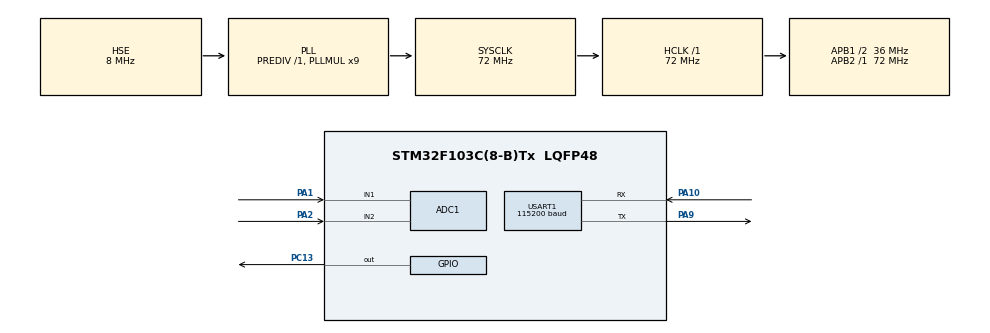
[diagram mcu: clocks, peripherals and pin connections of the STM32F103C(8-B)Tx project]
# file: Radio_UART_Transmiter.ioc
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ADC1.Channel-0\#ChannelRegularConversion=ADC_CHANNEL_1
ADC1.Channel-1\#ChannelRegularConversion=ADC_CHANNEL_2
ADC1.NbrOfConversion=2
ADC1.NbrOfConversionFlag=1
ADC1.Rank-0\#ChannelRegularConversion=1
ADC1.Rank-1\#ChannelRegularConversion=2
ADC1.SamplingTime-0\#ChannelRegularConversion=ADC_SAMPLETIME_1CYCLE_5
ADC1.SamplingTime-1\#ChannelRegularConversion=ADC_SAMPLETIME_1CYCLE_5
ADC1.master=1
Dma.ADC1.0.Direction=DMA_PERIPH_TO_MEMORY
Dma.ADC1.0.Instance=DMA1_Channel1
Dma.ADC1.0.MemDataAlignment=DMA_MDATAALIGN_HALFWORD
Dma.ADC1.0.MemInc=DMA_MINC_ENABLE
Dma.ADC1.0.Mode=DMA_NORMAL
Dma.ADC1.0.PeriphDataAlignment=DMA_PDATAALIGN_HALFWORD
Dma.ADC1.0.PeriphInc=DMA_PINC_DISABLE
Dma.ADC1.0.Priority=DMA_PRIORITY_LOW
Dma.Request0=ADC1
Mcu.Family=STM32F1
Mcu.Name=STM32F103C(8-B)Tx
Mcu.Package=LQFP48
NVIC.ADC1_2_IRQn=true\:0\:0\:false\:false\:true\:true\:true\:true
NVIC.DMA1_Channel1_IRQn=true\:0\:0\:false\:false\:true\:false\:true\:true
NVIC.PriorityGroup=NVIC_PRIORITYGROUP_4
NVIC.TIM3_IRQn=true\:0\:0\:false\:false\:true\:true\:true\:true
NVIC.USART1_IRQn=true\:0\:0\:false\:false\:true\:true\:true\:true
PA1.Signal=ADCx_IN1
PA10.Mode=Asynchronous
PA10.Signal=USART1_RX
PA13.Mode=Serial_Wire
PA13.Signal=SYS_JTMS-SWDIO
PA14.Mode=Serial_Wire
PA14.Signal=SYS_JTCK-SWCLK
PA2.Signal=ADCx_IN2
PA9.Mode=Asynchronous
PA9.Signal=USART1_TX
PC13-TAMPER-RTC.Signal=GPIO_Output
PD0-OSC_IN.Mode=HSE-External-Oscillator
PD0-OSC_IN.Signal=RCC_OSC_IN
PD1-OSC_OUT.Mode=HSE-External-Oscillator
PD1-OSC_OUT.Signal=RCC_OSC_OUT
ProjectManager.HeapSize=0x200
ProjectManager.StackSize=0x400
ProjectManager.TargetToolchain=STM32CubeIDE
RCC.ADCPresc=RCC_ADCPCLK2_DIV6
RCC.AHBFreq_Value=72000000
RCC.APB1CLKDivider=RCC_HCLK_DIV2
RCC.APB1Freq_Value=36000000
RCC.APB1TimFreq_Value=72000000
RCC.APB2Freq_Value=72000000
RCC.APB2TimFreq_Value=72000000
RCC.HCLKFreq_Value=72000000
RCC.PLLMUL=RCC_PLL_MUL9
RCC.PLLSourceVirtual=RCC_PLLSOURCE_HSE
RCC.SYSCLKFreq_VALUE=72000000
RCC.SYSCLKSource=RCC_SYSCLKSOURCE_PLLCLK
RCC.USBFreq_Value=72000000
SH.ADCx_IN1.0=ADC1_IN1,IN1
SH.ADCx_IN2.0=ADC1_IN2,IN2
TIM3.Period=1999
TIM3.Prescaler=1999
USART1.BaudRate=115200
USART1.VirtualMode=VM_ASYNC
VP_TIM3_VS_ClockSourceINT.Mode=Internal
board=custom

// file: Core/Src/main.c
/* USER CODE BEGIN Header */
/**
  ******************************************************************************
  * @file           : main.c
  * @brief          : Main program body
  ******************************************************************************
  * @attention
  *
  * Copyright (c) 2025 STMicroelectronics.
  * All rights reserved.
  *
  * This software is licensed under terms that can be found in the LICENSE file
  * in the root directory of this software component.
  * If no LICENSE file comes with this software, it is provided AS-IS.
  *
  ******************************************************************************
  */
/* USER CODE END Header */
#include "main.h"

/* USER CODE BEGIN PD */
#define ADC_CHANNELS_NUM 2
/* USER CODE END PD */

ADC_HandleTypeDef hadc1;
DMA_HandleTypeDef hdma_adc1;

TIM_HandleTypeDef htim3;

UART_HandleTypeDef huart1;

/* USER CODE BEGIN PV */
uint16_t adcData[ADC_CHANNELS_NUM]; //значение АЦП 12 бит по каждому каналу
uint8_t TX_UART[3], RX_UART[3];
/* USER CODE END PV */

void SystemClock_Config(void);
static void MX_GPIO_Init(void);
static void MX_DMA_Init(void);
static void MX_USART1_UART_Init(void);
static void MX_ADC1_Init(void);
static void MX_TIM3_Init(void);

int main(void)
{

  /* MCU Configuration--------------------------------------------------------*/

  /* Reset of all peripherals, Initializes the Flash interface and the Systick. */
  HAL_Init();

  /* Configure the system clock */
  SystemClock_Config();

  /* Initialize all configured peripherals */
  MX_GPIO_Init();
  MX_DMA_Init();
  MX_USART1_UART_Init();
  MX_ADC1_Init();
  MX_TIM3_Init();
  /* USER CODE BEGIN 2 */
  HAL_TIM_Base_Start_IT(&htim3);
  /* USER CODE END 2 */

  /* Infinite loop */
  /* USER CODE BEGIN WHILE */
  const int a = 4;
   int omega_left=0, omega_rigth=0;
   uint8_t in; //8-ми битное число, которое содержит логику драйвера

	  HAL_ADCEx_Calibration_Start(&hadc1);
	  HAL_UART_Receive_IT(&huart1, RX_UART, 3);

   while (1)
  {
	   //printf("%d_%d\n", (int)adcData[0], (int)adcData[1]);
	  HAL_ADC_Start_DMA(&hadc1, (uint32_t*)adcData, ADC_CHANNELS_NUM);
	  HAL_ADC_PollForConversion(&hadc1, HAL_MAX_DELAY);
	  //printf("1\n");
	  	  // Y - перёд-назад (adcData[0]), Х - лево-право (adcData[1])
	  //А2 - Y, A1 - X
	  	  //зона нечувствительности (центр)
	  	  if (pow(pow(adcData[0]-2000,2) + pow(adcData[1]-2000,2),0.5) < 200)
	  	  {
	  		omega_left  = 0;
	  		omega_rigth = 0;
	  		in = 0x00;
	  	  }

	  	  //зона нечувствительности (перед)
	  	  else if ((1900 < adcData[1])&&(adcData[1] < 2000) && (adcData[0] > 2000))
	  	  	  {
	  		  	float y = adcData[0];
	  	  		omega_left  = (int)((y - 2000) / (4040 - 2000) * 100);
	  	  		omega_rigth = (int)((y - 2000) / (4040 - 2000) * 100);
	  	  		in = 0x09;
	  	  	  }

	  	  //зона нечувствительности (зад)
	  	  else if ((1900 < adcData[1])&&(adcData[1] < 2000) && adcData[0] <= 2000)
	  	  {
	  		  float y = adcData[0];
	  		  omega_left  = (int)((1900 - y) / (1900) * 100);
	  		  omega_rigth = (int)((1900 - y) / (1900) * 100);
	  		  in = 0x06;
	  	  }

	  	  //зона нечувствительности (лево)
	  	  else if ((1950 < adcData[0]) && (adcData[0] < 2100) && adcData[1] <= 2000)
	  	  {
	  		  float x = adcData[1];
	  		  omega_left  = (int)((1900 - x) / (1900) * 100);
	  		  omega_rigth = (int)((1900 - x) / (1900) * 100);
	  		  in = 0x05; //в битах написано вначале для левого привода, потом для правого
	  	  }

	  	 //зона нечувствительности (право)
	  	  else if ((1950 < adcData[0]) && (adcData[0] < 2200) && adcData[1] > 2000)
	  	  {
	  		  float x = adcData[1];
	  		 // printf("%d", (int)x);
	  		  omega_left  = (int)((x - 2000) / (4040 - 2000) * 100);
	  		  omega_rigth = (int)((x - 2000) / (4040 - 2000) * 100);
	  		  in = 0x0A; //в битах написано вначале для левого привода, потом для правого
	  	  }

	  	   //обычная зона (разбита на 4 секции), имеются зоны нечувствительности
	  	  else if (adcData[0] > 2000 && adcData[1] > 2000)
	  	  {
	  		  float y = adcData[0];
	  		  float x = adcData[1];
	  		  omega_left  = (int)((y - 2000) / (4040 - 2000) * 100);
	  		  omega_rigth = (int)((y - 2000) / (4040 - 2000) * 100) - (int)((x - 2000) / (4040 - 2000) * 25);
	  		  if(omega_rigth < 0)
	  		  {
	  			 omega_rigth = 0;
	  		  }
	  		  in = 0x09;
	  	  }
	  	  else if (adcData[0] > 2000 && adcData[1] < 2000)
	  	  	  {
	  	  		  float y = adcData[0];
	  	  		  float x = adcData[1];
	  	  		  omega_left  = (int)((y - 2000) / (4040 - 2000) * 100) - (int)((1900 - x) / (1900) * 25);
	  	  		  omega_rigth = (int)((y - 2000) / (4040 - 2000) * 100);
	  	  		  if(omega_left < 0)
	  	  		  {
	  	  			 omega_left = 0;
	  	  		  }
	  	  		  in = 0x09;
	  	  	  }

	  	 else if (adcData[0] < 2000 && adcData[1] > 2000)
	  	 	 {
	  		   float y = adcData[0];
	  		   float x = adcData[1];
	  		   omega_left  = (int)((1970 - y) / (1950) * 100);
	  		   omega_rigth = (int)((1900 - y) / (1900) * 100) - (int)((x - 2000) / (4040 - 2000) * 25);
	  		   if(omega_rigth < 0)
	  		   {
	  		       omega_rigth = 0;
	  		   }
	  		   in = 0x06;
	  	 	 }
	  	 else if (adcData[0] < 2000 && adcData[1] < 2000)
	  	 	 {
	  		   float y = adcData[0];
	  		   float x = adcData[1];
	  		   omega_left  = (int)((1900 - y) / (1900) * 100) - (int)((1900 - x) / (1900) * 25);
	  		   omega_rigth = (int)((1970 - y) / (1950) * 100);
	  		   if(omega_left < 0)
	  	 	   {
	  	 		  omega_left = 0;
	  	 	   }
	  		   in = 0x06;
	  	 	 }
	  	else
	  	  {
	  		  omega_left  = adcData[0];
	  		  omega_rigth = adcData[1];
	  	  }
	  	 // printf("%d_%d\n", omega_left, omega_rigth);

	  	TX_UART[0] = (uint8_t)omega_left;
	  	TX_UART[1] = (uint8_t)omega_rigth;
	  	TX_UART[2] = in;
  	  printf("_%d_%d_%d_\n", (int)TX_UART[0], (int)TX_UART[1], (int)TX_UART[2]);
  	printf("RX: _%d_%d_%d_\n", (int)RX_UART[0], (int)RX_UART[1], (int)RX_UART[2]);
	  //HAL_UART_Transmit_IT(&huart1, "1", 1);
    /* USER CODE END WHILE */

  }
}

void SystemClock_Config(void)
{
  RCC_OscInitTypeDef RCC_OscInitStruct = {0};
  RCC_ClkInitTypeDef RCC_ClkInitStruct = {0};
  RCC_PeriphCLKInitTypeDef PeriphClkInit = {0};

  /** Initializes the RCC Oscillators according to the specified parameters
  * in the RCC_OscInitTypeDef structure.
  */
  RCC_OscInitStruct.OscillatorType = RCC_OSCILLATORTYPE_HSE;
  RCC_OscInitStruct.HSEState = RCC_HSE_ON;
  RCC_OscInitStruct.HSEPredivValue = RCC_HSE_PREDIV_DIV1;
  RCC_OscInitStruct.HSIState = RCC_HSI_ON;
  RCC_OscInitStruct.PLL.PLLState = RCC_PLL_ON;
  RCC_OscInitStruct.PLL.PLLSource = RCC_PLLSOURCE_HSE;
  RCC_OscInitStruct.PLL.PLLMUL = RCC_PLL_MUL9;
  if (HAL_RCC_OscConfig(&RCC_OscInitStruct) != HAL_OK)
  {
    Error_Handler();
  }

  /** Initializes the CPU, AHB and APB buses clocks
  */
  RCC_ClkInitStruct.ClockType = RCC_CLOCKTYPE_HCLK|RCC_CLOCKTYPE_SYSCLK
                              |RCC_CLOCKTYPE_PCLK1|RCC_CLOCKTYPE_PCLK2;
  RCC_ClkInitStruct.SYSCLKSource = RCC_SYSCLKSOURCE_PLLCLK;
  RCC_ClkInitStruct.AHBCLKDivider = RCC_SYSCLK_DIV1;
  RCC_ClkInitStruct.APB1CLKDivider = RCC_HCLK_DIV2;
  RCC_ClkInitStruct.APB2CLKDivider = RCC_HCLK_DIV1;

  if (HAL_RCC_ClockConfig(&RCC_ClkInitStruct, FLASH_LATENCY_2) != HAL_OK)
  {
    Error_Handler();
  }
  PeriphClkInit.PeriphClockSelection = RCC_PERIPHCLK_ADC;
  PeriphClkInit.AdcClockSelection = RCC_ADCPCLK2_DIV6;
  if (HAL_RCCEx_PeriphCLKConfig(&PeriphClkInit) != HAL_OK)
  {
    Error_Handler();
  }
}

static void MX_ADC1_Init(void)
{

  ADC_ChannelConfTypeDef sConfig = {0};

  /** Common config
  */
  hadc1.Instance = ADC1;
  hadc1.Init.ScanConvMode = ADC_SCAN_ENABLE;
  hadc1.Init.ContinuousConvMode = DISABLE;
  hadc1.Init.DiscontinuousConvMode = DISABLE;
  hadc1.Init.ExternalTrigConv = ADC_SOFTWARE_START;
  hadc1.Init.DataAlign = ADC_DATAALIGN_RIGHT;
  hadc1.Init.NbrOfConversion = 2;
  if (HAL_ADC_Init(&hadc1) != HAL_OK)
  {
    Error_Handler();
  }

  /** Configure Regular Channel
  */
  sConfig.Channel = ADC_CHANNEL_1;
  sConfig.Rank = ADC_REGULAR_RANK_1;
  sConfig.SamplingTime = ADC_SAMPLETIME_1CYCLE_5;
  if (HAL_ADC_ConfigChannel(&hadc1, &sConfig) != HAL_OK)
  {
    Error_Handler();
  }

  /** Configure Regular Channel
  */
  sConfig.Channel = ADC_CHANNEL_2;
  sConfig.Rank = ADC_REGULAR_RANK_2;
  if (HAL_ADC_ConfigChannel(&hadc1, &sConfig) != HAL_OK)
  {
    Error_Handler();
  }

}

static void MX_TIM3_Init(void)
{

  TIM_ClockConfigTypeDef sClockSourceConfig = {0};
  TIM_MasterConfigTypeDef sMasterConfig = {0};

  htim3.Instance = TIM3;
  htim3.Init.Prescaler = 1999;
  htim3.Init.CounterMode = TIM_COUNTERMODE_UP;
  htim3.Init.Period = 1999;
  htim3.Init.ClockDivision = TIM_CLOCKDIVISION_DIV1;
  htim3.Init.AutoReloadPreload = TIM_AUTORELOAD_PRELOAD_DISABLE;
  if (HAL_TIM_Base_Init(&htim3) != HAL_OK)
  {
    Error_Handler();
  }
  sClockSourceConfig.ClockSource = TIM_CLOCKSOURCE_INTERNAL;
  if (HAL_TIM_ConfigClockSource(&htim3, &sClockSourceConfig) != HAL_OK)
  {
    Error_Handler();
  }
  sMasterConfig.MasterOutputTrigger = TIM_TRGO_RESET;
  sMasterConfig.MasterSlaveMode = TIM_MASTERSLAVEMODE_DISABLE;
  if (HAL_TIMEx_MasterConfigSynchronization(&htim3, &sMasterConfig) != HAL_OK)
  {
    Error_Handler();
  }

}

static void MX_USART1_UART_Init(void)
{

  huart1.Instance = USART1;
  huart1.Init.BaudRate = 115200;
  huart1.Init.WordLength = UART_WORDLENGTH_8B;
  huart1.Init.StopBits = UART_STOPBITS_1;
  huart1.Init.Parity = UART_PARITY_NONE;
  huart1.Init.Mode = UART_MODE_TX_RX;
  huart1.Init.HwFlowCtl = UART_HWCONTROL_NONE;
  huart1.Init.OverSampling = UART_OVERSAMPLING_16;
  if (HAL_UART_Init(&huart1) != HAL_OK)
  {
    Error_Handler();
  }

}

static void MX_DMA_Init(void)
{

  /* DMA controller clock enable */
  __HAL_RCC_DMA1_CLK_ENABLE();

  /* DMA interrupt init */
  /* DMA1_Channel1_IRQn interrupt configuration */
  HAL_NVIC_SetPriority(DMA1_Channel1_IRQn, 0, 0);
  HAL_NVIC_EnableIRQ(DMA1_Channel1_IRQn);

}

static void MX_GPIO_Init(void)
{
  GPIO_InitTypeDef GPIO_InitStruct = {0};

  /* GPIO Ports Clock Enable */
  __HAL_RCC_GPIOC_CLK_ENABLE();
  __HAL_RCC_GPIOD_CLK_ENABLE();
  __HAL_RCC_GPIOA_CLK_ENABLE();

  /*Configure GPIO pin Output Level */
  HAL_GPIO_WritePin(GPIOC, GPIO_PIN_13, GPIO_PIN_RESET);

  /*Configure GPIO pin : PC13 */
  GPIO_InitStruct.Pin = GPIO_PIN_13;
  GPIO_InitStruct.Mode = GPIO_MODE_OUTPUT_PP;
  GPIO_InitStruct.Pull = GPIO_NOPULL;
  GPIO_InitStruct.Speed = GPIO_SPEED_FREQ_LOW;
  HAL_GPIO_Init(GPIOC, &GPIO_InitStruct);

}

/* USER CODE BEGIN 4 */
void HAL_ADC_ConvCpltCallback(ADC_HandleTypeDef* hadc)
{
  if(hadc->Instance == ADC1)
  {

  }
}

void HAL_UART_RxCpltCallback(UART_HandleTypeDef *huart) {
       if (huart->Instance == USART1) {
           // Обработка принятых данных
           // ...

           HAL_UART_Receive_IT(&huart1, RX_UART, 3); // Перезапуск приема (10 байт)

       }
   }

void HAL_TIM_PeriodElapsedCallback(TIM_HandleTypeDef *htim)
{
		if(htim->Instance == TIM3)
	{
		HAL_UART_Transmit_IT(&huart1, TX_UART, 3);
		HAL_GPIO_TogglePin(GPIOC, GPIO_PIN_13);
	}
}
/* USER CODE END 4 */

void Error_Handler(void)
{
  __disable_irq();
  while (1)
  {
  }
}
